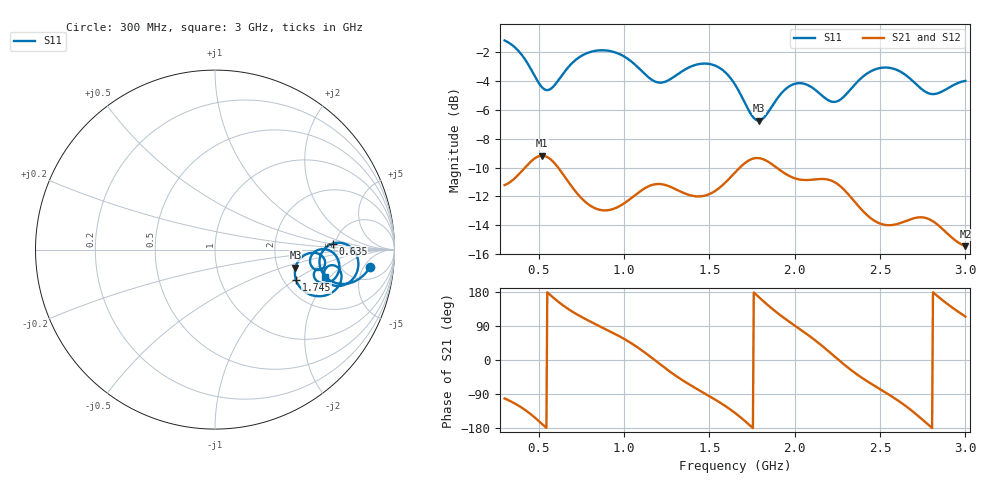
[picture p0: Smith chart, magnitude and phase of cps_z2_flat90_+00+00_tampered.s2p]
! cps_z2_flat90_+00+00_tampered
! simulated by sim/fixtures_fdtd.py (S12 = S21, S22 not computed)
# HZ S RI R 50
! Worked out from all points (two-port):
!   541 points, 300 MHz to 3 GHz, reference 50 ohm
!   highest |S21| = -9.18 dB at 520 MHz (marker M1); lowest = -15.4 dB at 3 GHz (marker M2)
!   |S21| within 3 dB of the highest: start of sweep to 755.7 MHz; 1.034 GHz to 2.338 GHz (1.304 GHz wide, 77.3 % of centre)
!   lowest |S11| = -6.8 dB at 1.79 GHz (marker M3), VSWR 2.70, Z = 126 - j31.8 ohm
!   |S11| at or under -10 dB: nowhere
!   |S22| runs from - to - dB; largest |S21 - S12| = 0
!   S11 on the Smith chart (normalised r, x): 300 MHz: 9, -7; 635 MHz: 4.76, +0.56; 1.745 GHz: 2.33, -1.03; 3 GHz: 3.46, -1.75
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3e8  0.8634 -0.0967  -0.055 -0.2695  -0.055 -0.2695  0 0
4.25e8  0.7141 -0.1915  -0.2191 -0.2316  -0.2191 -0.2316  0 0
5.2e8  0.5884 -0.1073  -0.3411 -0.0657  -0.3411 -0.0657  0 0
6.35e8  0.6563 0.0337  -0.2537 0.1673  -0.2537 0.1673  0 0
7.5e8  0.7685 0.00148  -0.0999 0.2268  -0.0999 0.2268  0 0
8.85e8  0.796 -0.1071  0.0272 0.2232  0.0272 0.2232  0 0
1.025e9  0.7222 -0.1963  0.1595 0.184  0.1595 0.184  0 0
1.2e9  0.6073 -0.1333  0.2752 -0.0352  0.2752 -0.0352  0 0
1.4e9  0.699 -0.12  0.089 -0.2363  0.089 -0.2363  0 0
1.525e9  0.6821 -0.212  -0.0548 -0.2547  -0.0548 -0.2547  0 0
1.65e9  0.5551 -0.2579  -0.2316 -0.1967  -0.2316 -0.1967  0 0
1.745e9  0.4513 -0.1692  -0.3368 -0.0253  -0.3368 -0.0253  0 0
1.79e9  0.4484 -0.0998  -0.3303 0.0836  -0.3303 0.0836  0 0
1.925e9  0.5731 -0.0222  -0.1297 0.2775  -0.1297 0.2775  0 0
2.1e9  0.5879 -0.1116  0.149 0.2452  0.149 0.2452  0 0
2.26e9  0.5383 -0.0315  0.2747 -0.00448  0.2747 -0.00448  0 0
2.38e9  0.6361 -0.00429  0.1689 -0.1564  0.1689 -0.1564  0 0
2.55e9  0.6882 -0.1249  -0.00304 -0.1998  -0.00304 -0.1998  0 0
2.67e9  0.618 -0.1872  -0.1289 -0.164  -0.1289 -0.164  0 0
2.78e9  0.5519 -0.1502  -0.2071 -0.0378  -0.2071 -0.0378  0 0
2.885e9  0.5781 -0.1096  -0.1657 0.0915  -0.1657 0.0915  0 0
3e9  0.6113 -0.1528  -0.0703 0.1539  -0.0703 0.1539  0 0
